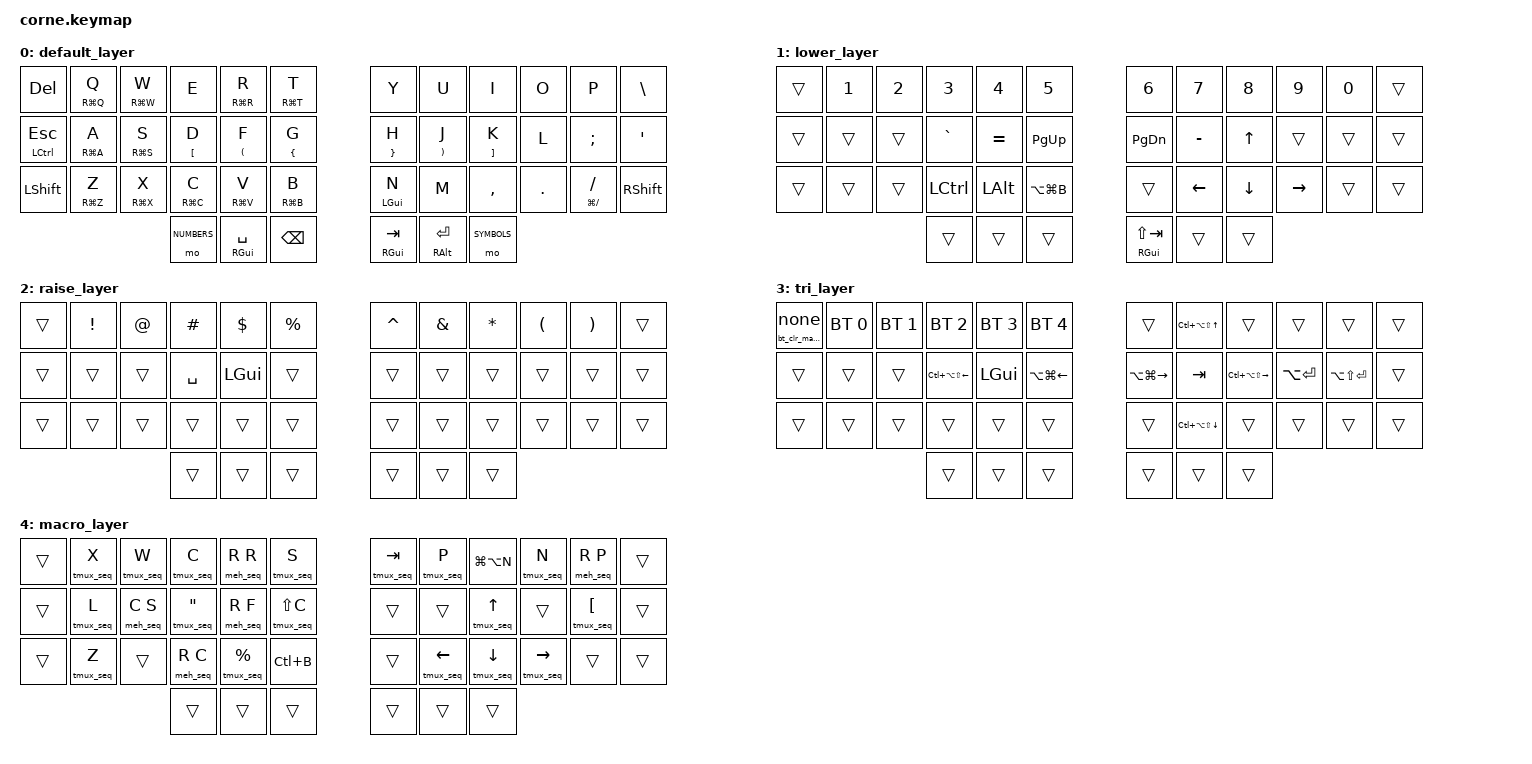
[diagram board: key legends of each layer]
// ============================================================================
// ZMK Keyboard Configuration - Corne
// ============================================================================

#include <behaviors.dtsi>
#include <dt-bindings/zmk/keys.h>
#include <dt-bindings/zmk/bt.h>

// ============================================================================
// Layer Definitions
// ============================================================================

#define BASE 0 // default_layer index
#define BASE_TEXT "ABC"
#define NUMBERS 1 // lower_layer index
#define NUMBERS_TEXT "123"
#define SYMBOLS 2 // raise_layer index
#define SYMBOLS_TEXT "$!?"
#define SYSTEM 3 // tri_layer index
#define SYSTEM_TEXT "SYS"
#define MACROS 4 // macro_layer index
#define MACROS_TEXT "MACRO"

// ============================================================================
// Custom Key Definitions
// ============================================================================

// Import = Alt + Shift + Enter
#define IMP LA(LS(ENTER))
// Action = Alt + Enter
#define ACT LA(ENTER)
// Back = Alt + Command + <-
#define BC LA(LG(LEFT))
// Forward = Alt + Command + ->
#define FW LA(LG(RIGHT))

// ============================================================================
// Behavior Configuration
// ============================================================================

&caps_word {
    // when using caps word, allow for underscore and minus as they are commonly used for constants in programming languages
    continue-list = <DELETE BACKSPACE UNDERSCORE MINUS LEFT RIGHT LCTRL RCTRL LGUI RGUI>;
};

&mt {
    // sane defaults
    tapping-term-ms = <250>;
    flavor = "tap-preferred";
    require-prior-idle-ms = <100>;
    // tap then hold the same key within this window repeats the tap (letter auto-repeat) instead of holding
    quick-tap-ms = <175>;
};

&sl {
    // room to think between tapping the macro-layer combo and the key it's for
    release-after-ms = <2000>;
};

/ {
    // ============================================================================
    // Macros
    // ============================================================================

    macros {
        // Meh (Ctrl+Alt+Shift) + FIRST, wait, then tap SECOND. Matches IntelliJ's refactor chords,
        // e.g. &meh_seq R F = Refactor > Introduce Field.
        meh_seq: meh_seq {
            compatible = "zmk,behavior-macro-two-param";
            #binding-cells = <2>;
            bindings
            = <&macro_press &kp LCTRL &kp LALT &kp LSHIFT>
            , <&macro_param_1to1>
            , <&macro_tap &kp MACRO_PLACEHOLDER>
            , <&macro_release &kp LCTRL &kp LALT &kp LSHIFT>
            , <&macro_wait_time 100>
            , <&macro_param_2to1>
            , <&macro_tap &kp MACRO_PLACEHOLDER>
            ;
        };

        // Ctrl+B (tmux prefix), then tap the param, e.g. &tmux_seq LS(C) = claudia.
        tmux_seq: tmux_seq {
            compatible = "zmk,behavior-macro-one-param";
            #binding-cells = <1>;
            bindings
            = <&macro_tap &kp LC(B)>
            , <&macro_param_1to1>
            , <&macro_tap &kp MACRO_PLACEHOLDER>
            ;
        };

        // Wrapper so a hold-tap can trigger the two-cell &bt BT_CLR
        bt_clr_macro: bt_clr_macro {
            compatible = "zmk,behavior-macro";
            #binding-cells = <0>;
            bindings = <&bt BT_CLR>;
        };
    };

    // ============================================================================
    // Behaviors
    // ============================================================================

    behaviors {
        // Bluetooth clear only after holding for a full second; a tap does nothing.
        bt_clr_hold: bt_clr_hold {
            compatible = "zmk,behavior-hold-tap";
            #binding-cells = <2>;
            tapping-term-ms = <1000>;
            flavor = "hold-preferred";
            bindings = <&bt_clr_macro>, <&none>;
            display-name = "BT clear (hold)";
        };

        // &mt without quick-tap, so tap-then-hold on a modifier key still gives the modifier
        mt_mod: mt_mod {
            compatible = "zmk,behavior-hold-tap";
            #binding-cells = <2>;
            tapping-term-ms = <250>;
            flavor = "tap-preferred";
            require-prior-idle-ms = <100>;
            bindings = <&kp>, <&kp>;
            display-name = "Mod-Tap";
        };
    };
};

// ============================================================================
// Key Index Reference
// ============================================================================
// 00 01 02 03 04 05 | 06 07 08 09 10 11
// 12 13 14 15 16 17 | 18 19 20 21 22 23
// 24 25 26 27 28 29 | 30 31 32 33 34 35
//          36 37 38 | 39 40 41

/ {
    // ============================================================================
    // Combos
    // ============================================================================

    combos {
        compatible = "zmk,combos";

        // Escape - J+K (home row, vim-style)
        combo_esc {
            require-prior-idle-ms = <100>;
            timeout-ms = <30>;
            key-positions = <19 20>; // J K
            bindings = <&kp ESC>;
            layers = <BASE>;
        };

        // Caps Word - F+J (home row inner fingers)
        combo_caps_word {
            require-prior-idle-ms = <100>;
            timeout-ms = <50>;
            key-positions = <16 19>; // F J
            bindings = <&caps_word>;
            layers = <BASE>;
        };

        // Delete - I+O (forward delete)
        combo_del {
            require-prior-idle-ms = <100>;
            timeout-ms = <30>;
            key-positions = <8 9>; // I O
            bindings = <&kp DEL>;
            layers = <BASE>;
        };

        // Underscore - C+V (common in variable names)
        combo_under {
            require-prior-idle-ms = <100>;
            timeout-ms = <30>;
            key-positions = <27 28>; // C V
            bindings = <&kp UNDER>;
            layers = <BASE>;
        };

        // Macro layer - middle thumbs (SPACE+ENTER); tap = one-shot, hold = momentary
        combo_macros {
            require-prior-idle-ms = <100>;
            timeout-ms = <50>;
            key-positions = <37 40>;
            bindings = <&sl MACROS>;
            layers = <BASE>;
        };
    };

    // ============================================================================
    // Conditional Layers
    // ============================================================================

    conditional_layers {
        compatible = "zmk,conditional-layers";

        tri_layer {
            // Switch to system layer if both layer switch keys are pressed at the same time
            if-layers = <NUMBERS SYMBOLS>;
            then-layer = <SYSTEM>;
        };
    };

    // ============================================================================
    // Keymap
    // ============================================================================

    keymap {
        compatible = "zmk,keymap";

        default_layer {
            display-name = BASE_TEXT;
            bindings = <
                           // @formatter:off
            // ╭─────────────┬─────────────┬─────────────┬─────────────┬─────────────┬─────────────╮   ╭─────────────┬─────────────┬─────────────┬─────────────┬─────────────┬─────────────╮
            // │  DEL        │  Q          │  W          │  E          │  R          │  T          │   │  Y          │  U          │  I          │  O          │  P          │  \          │
                &kp DEL        &mt RG(Q) Q  &mt RG(W) W  &kp E         &mt RG(R) R     &mt RG(T) T        &kp Y         &kp U         &kp I         &kp O    &kp P              &kp BSLH
            // ├─────────────┼─────────────┼─────────────┼─────────────┼─────────────┼─────────────┤   ├─────────────┼─────────────┼─────────────┼─────────────┼─────────────┼─────────────┤
            // │  ESC / CTRL │  A / Cmd+A  │  S / Cmd+S  │  D / [      │  F / (      │  G / {      │   │  H / }      │  J / )      │  K / ]      │  L          │  ;          │  '          │
                &mt_mod LCTRL ESC &mt RG(A) A  &mt RG(S) S  &mt LBKT D    &mt LPAR F      &mt LBRC G         &mt RBRC H    &mt RPAR J    &mt RBKT K    &kp L    &kp SEMI           &kp SQT
            // ├─────────────┼─────────────┼─────────────┼─────────────┼─────────────┼─────────────┤   ├─────────────┼─────────────┼─────────────┼─────────────┼─────────────┼─────────────┤
            // │  SHIFT      │  Z / Cmd+Z  │  X / Cmd+X  │  C / Cmd+C  │  V / Cmd+V  │  B / Cmd+B  │   │  N / GUI    │  M          │  ,          │  .          │  / / Cmd+/  │  SHIFT      │
                &kp LSHFT      &mt RG(Z) Z  &mt RG(X) X  &mt RG(C) C   &mt RG(V) V     &mt RG(B) B        &mt LGUI N    &kp M         &kp COMMA     &kp DOT  &mt LG(FSLH) FSLH  &kp RSHFT
            // ╰─────────────┴─────────────┴─────────────┼─────────────┼─────────────┼─────────────┤   ├─────────────┼─────────────┼─────────────┼─────────────┴─────────────┴─────────────╯
            //                                           │  NUMBERS    │  SPACE/GUI  │  BSPC       │   │  TAB / GUI  │  ENTER/ALT  │  SYMBOLS    │
                                                         &mo NUMBERS   &mt_mod RGUI SPACE  &kp BSPC     &mt_mod RGUI TAB  &mt_mod RALT RET  &mo SYMBOLS
            //                                           ╰─────────────┴─────────────┴─────────────╯   ╰─────────────┴─────────────┴─────────────╯
                           // @formatter:on
                       >;
        };

        lower_layer {
            display-name = NUMBERS_TEXT;
            bindings = <
                           // @formatter:off
            // ╭─────────────┬─────────────┬─────────────┬─────────────┬─────────────┬─────────────╮   ╭─────────────┬─────────────┬─────────────┬─────────────┬─────────────┬─────────────╮
            // │             │  1          │  2          │  3          │  4          │  5          │   │  6          │  7          │  8          │  9          │  0          │             │
                &trans         &kp N1       &kp N2       &kp N3        &kp N4        &kp N5             &kp N6        &kp N7        &kp N8        &kp N9        &kp N0        &trans
            // ├─────────────┼─────────────┼─────────────┼─────────────┼─────────────┼─────────────┤   ├─────────────┼─────────────┼─────────────┼─────────────┼─────────────┼─────────────┤
            // │             │             │             │  `          │  =          │  PgUp       │   │  PgDn       │  -          │  ↑          │             │             │             │
                &trans         &trans       &trans       &kp GRAVE     &kp EQUAL     &kp PG_UP          &kp PG_DN     &kp MINUS     &kp UP        &trans        &trans        &trans
            // ├─────────────┼─────────────┼─────────────┼─────────────┼─────────────┼─────────────┤   ├─────────────┼─────────────┼─────────────┼─────────────┼─────────────┼─────────────┤
            // │             │             │             │  CTRL       │  ALT        │  Cmd+Opt+B  │   │             │  ←          │  ↓          │  →          │             │             │
                &trans         &trans       &trans       &kp LCTRL     &kp LALT      &kp LA(LG(B))      &trans        &kp LEFT      &kp DOWN      &kp RIGHT     &trans        &trans
            // ╰─────────────┴─────────────┴─────────────┼─────────────┼─────────────┼─────────────┤   ├─────────────┼─────────────┼─────────────┼─────────────┴─────────────┴─────────────╯
            //                                           │             │             │             │   │  S+TAB / GUI│             │             │
                                                         &trans        &trans        &trans             &mt_mod RGUI LS(TAB) &trans &trans
            //                                           ╰─────────────┴─────────────┴─────────────╯   ╰─────────────┴─────────────┴─────────────╯
                           // @formatter:on
                       >;
        };

        raise_layer {
            display-name = SYMBOLS_TEXT;
            bindings = <
                           // @formatter:off
            // ╭─────────────┬─────────────┬─────────────┬─────────────┬─────────────┬─────────────╮   ╭─────────────┬─────────────┬─────────────┬─────────────┬─────────────┬─────────────╮
            // │             │  !          │  @          │  #          │  $          │  %          │   │  ^          │  &          │  *          │  (          │  )          │             │
                &trans         &kp EXCL     &kp AT       &kp HASH      &kp DLLR      &kp PRCNT          &kp CARET     &kp AMPS      &kp STAR      &kp LPAR      &kp RPAR      &trans
            // ├─────────────┼─────────────┼─────────────┼─────────────┼─────────────┼─────────────┤   ├─────────────┼─────────────┼─────────────┼─────────────┼─────────────┼─────────────┤
            // │             │             │             │  SPACE      │  GUI        │             │   │             │             │             │             │             │             │
                &trans         &trans       &trans       &kp SPACE     &kp LGUI      &trans             &trans        &trans        &trans        &trans        &trans        &trans
            // ├─────────────┼─────────────┼─────────────┼─────────────┼─────────────┼─────────────┤   ├─────────────┼─────────────┼─────────────┼─────────────┼─────────────┼─────────────┤
            // │             │             │             │             │             │             │   │             │             │             │             │             │             │
                &trans         &trans       &trans       &trans        &trans        &trans             &trans        &trans        &trans        &trans        &trans        &trans
            // ╰─────────────┴─────────────┴─────────────┼─────────────┼─────────────┼─────────────┤   ├─────────────┼─────────────┼─────────────┼─────────────┴─────────────┴─────────────╯
            //                                           │             │             │             │   │             │             │             │
                                                         &trans        &trans        &trans             &trans        &trans        &trans
            //                                           ╰─────────────┴─────────────┴─────────────╯   ╰─────────────┴─────────────┴─────────────╯
                           // @formatter:on
                       >;
        };

        tri_layer {
            display-name = SYSTEM_TEXT;
            bindings = <
                           // @formatter:off
            // ╭─────────────┬─────────────┬─────────────┬─────────────┬─────────────┬─────────────╮   ╭─────────────┬─────────────┬─────────────┬─────────────┬─────────────┬─────────────╮
            // │  BT CLR     │  BT 0       │  BT 1       │  BT 2       │  BT 3       │  BT 4       │   │             │  Clone Up   │             │             │             │             │
                &bt_clr_hold 0 0 &bt BT_SEL 0 &bt BT_SEL 1 &bt BT_SEL 2  &bt BT_SEL 3  &bt BT_SEL 4       &trans        &kp LC(LA(LS(UP)))  &trans        &trans        &trans        &trans
            // ├─────────────┼─────────────┼─────────────┼─────────────┼─────────────┼─────────────┤   ├─────────────┼─────────────┼─────────────┼─────────────┼─────────────┼─────────────┤
            // │             │             │             │  Clone Left │  GUI        │  Back       │   │  Forward    │  TAB        │  Clone Rght │  Action     │  Import     │             │
                &trans         &trans       &trans       &kp LC(LA(LS(LEFT)))  &kp LGUI      &kp BC             &kp FW        &kp TAB       &kp LC(LA(LS(RIGHT)))  &kp ACT       &kp IMP       &trans
            // ├─────────────┼─────────────┼─────────────┼─────────────┼─────────────┼─────────────┤   ├─────────────┼─────────────┼─────────────┼─────────────┼─────────────┼─────────────┤
            // │             │             │             │             │             │             │   │             │  Clone Down │             │             │             │             │
                &trans         &trans       &trans       &trans        &trans        &trans             &trans        &kp LC(LA(LS(DOWN)))  &trans        &trans        &trans        &trans
            // ╰─────────────┴─────────────┴─────────────┼─────────────┼─────────────┼─────────────┤   ├─────────────┼─────────────┼─────────────┼─────────────┴─────────────┴─────────────╯
            //                                           │             │             │             │   │             │             │             │
                                                         &trans        &trans        &trans             &trans        &trans        &trans
            //                                           ╰─────────────┴─────────────┴─────────────╯   ╰─────────────┴─────────────┴─────────────╯
                           // @formatter:on
                       >;
        };

        macro_layer {
            display-name = MACROS_TEXT;
            bindings = <
                           // @formatter:off
            // ╭─────────────┬─────────────┬─────────────┬─────────────┬─────────────┬─────────────╮   ╭─────────────┬─────────────┬─────────────┬─────────────┬─────────────┬─────────────╮
            // │             │  Kill pane  │  Windows    │  New window │  Rename     │  Sessions   │   │  Float pane │  Prev win   │  Inline     │  Next win   │  Param      │             │
                &trans         &tmux_seq X  &tmux_seq W  &tmux_seq C   &meh_seq R R  &tmux_seq S        &tmux_seq TAB &tmux_seq P   &kp LG(LA(N)) &tmux_seq N   &meh_seq R P  &trans
            // ├─────────────┼─────────────┼─────────────┼─────────────┼─────────────┼─────────────┤   ├─────────────┼─────────────┼─────────────┼─────────────┼─────────────┼─────────────┤
            // │             │  Last win   │  Signature  │  Split ↓    │  Field      │  claudia    │   │             │             │  Pane ↑     │             │  Scroll     │             │
                &trans         &tmux_seq L  &meh_seq C S &tmux_seq DQT &meh_seq R F  &tmux_seq LS(C)    &trans        &trans        &tmux_seq UP  &trans        &tmux_seq LBKT &trans
            // ├─────────────┼─────────────┼─────────────┼─────────────┼─────────────┼─────────────┤   ├─────────────┼─────────────┼─────────────┼─────────────┼─────────────┼─────────────┤
            // │             │  Zoom pane  │             │  Constant   │  Split →    │  Ctrl+B     │   │             │  Pane ←     │  Pane ↓     │  Pane →     │             │             │
                &trans         &tmux_seq Z  &trans       &meh_seq R C  &tmux_seq PRCNT &kp LC(B)        &trans        &tmux_seq LEFT &tmux_seq DOWN &tmux_seq RIGHT &trans      &trans
            // ╰─────────────┴─────────────┴─────────────┼─────────────┼─────────────┼─────────────┤   ├─────────────┼─────────────┼─────────────┼─────────────┴─────────────┴─────────────╯
            //                                           │             │             │             │   │             │             │             │
                                                         &trans        &trans        &trans             &trans        &trans        &trans
            //                                           ╰─────────────┴─────────────┴─────────────╯   ╰─────────────┴─────────────┴─────────────╯
                           // @formatter:on
                       >;
        };
    };
};
